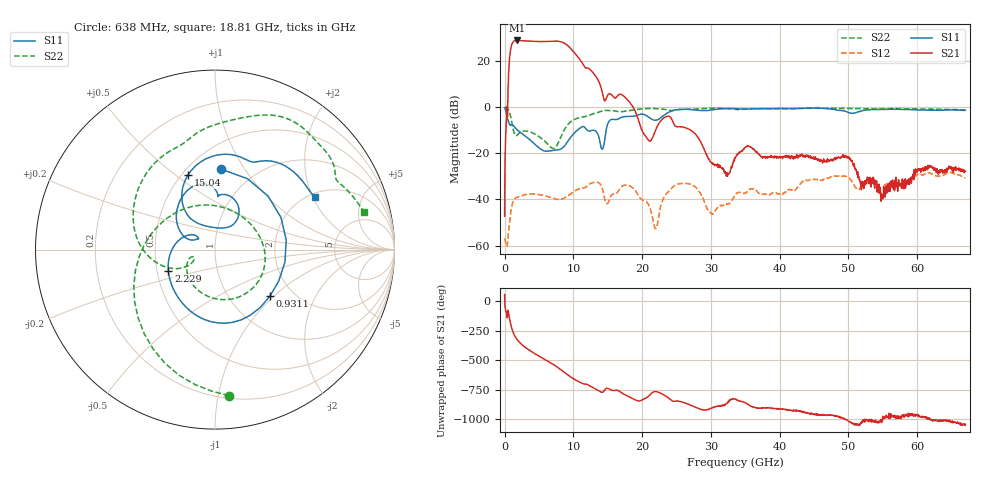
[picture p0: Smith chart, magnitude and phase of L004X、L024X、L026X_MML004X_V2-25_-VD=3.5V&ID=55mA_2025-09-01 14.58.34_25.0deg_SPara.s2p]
!Keysight Technologies,N5247B,MY63057157,A.17.10.07
!Date: Monday, September 01, 2025 15:05:31
!Correction: S11(C  2-Port  )
!S21(C  2-Port  )
!S12(C  2-Port  )
!S22(C  2-Port  )
!S2P File: Measurements: S11, S21, S12, S22:
# Hz S  dB  R 50
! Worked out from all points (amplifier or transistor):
!   1601 points, 10 MHz to 67 GHz, reference 50 ohm
!   highest |S21| = 28.7 dB at 1.81 GHz (marker M1)
!   |S21| within 3 dB of that: 946.6 MHz to 9.462 GHz (8.516 GHz wide, 164 % of centre)
!   unconditionally stable (mu >= 1): start of sweep to end of sweep
!   at 11.15 GHz: K = 1.89, MAG = 22.0 dB, |S12| = -35.2 dB
!   at 33.51 GHz: K = 19.88, MAG = -8.0 dB, |S12| = -38.2 dB
!   at 67 GHz: K = 33.23, MAG = -16.8 dB, |S12| = -30.8 dB
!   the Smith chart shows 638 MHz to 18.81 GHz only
!   S11 on the Smith chart (normalised r, x): 638 MHz: 0.70, +0.79; 931.1 MHz: 1.53, -0.94; 2.229 GHz: 0.57, -0.15; 15.04 GHz: 0.54, +0.56; 18.81 GHz: 2.14, +2.07
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1e7  -0.50 -26.6  -47.29 54.2  -56.82 -163.5  -0.14 -12.1
6.380312e8  -6.93 85.9  17.06 -122.1  -52.23 -119.7  -1.75 -84.6
9.311125e8  -7.93 -40.1  25.47 155.1  -44.82 166.9  -4.84 -138.5
1.3498e9  -8.37 -105.6  28.35 81.5  -40.37 111.5  -10.87 128.2
1.810356e9  -9.87 -135.8  28.69 35.3  -39.07 78.0  -12.34 40.0
2.229044e9  -10.87 -155.3  28.63 6.9  -38.70 59.9  -11.13 -3.0
3.275762e9  -13.24 169.7  28.46 -43.3  -37.82 31.7  -10.53 -58.8
4.36435e9  -16.07 148.3  28.31 -84.1  -37.64 13.2  -11.71 -101.4
5.620412e9  -18.92 144.7  28.21 -126.3  -38.25 -3.7  -14.21 -143.9
7.002081e9  -18.88 148.9  28.37 -173.3  -39.52 -12.6  -18.01 -160.4
7.881325e9  -18.53 150.3  28.32 152.3  -40.01 -10.7  -15.04 -149.2
8.844306e9  -16.41 158.7  27.22 110.6  -39.13 -4.2  -9.18 -169.8
9.932894e9  -12.04 146.8  24.19 66.5  -36.96 -8.0  -5.84 152.5
1.118896e10  -8.74 114.0  19.47 26.3  -35.20 -24.4  -4.44 117.8
1.328239e10  -10.59 67.5  13.12 -25.9  -32.55 -61.6  -2.70 81.6
1.504088e10  -7.09 110.0  5.22 -19.2  -41.54 -65.5  -1.61 50.3
1.880907e10  -4.04 27.8  -0.79 -110.2  -35.51 -124.3  -1.37 14.4
2.236791e10  -5.42 1.6  -7.58 -51.4  -48.48 8.0  -0.84 -18.3
3.3505e10  -0.80 -80.2  -22.29 -108.1  -38.19 -122.2  -1.11 -74.1
4.468396e10  -0.55 -124.5  -22.14 125.7  -31.44 170.4  -0.66 -109.1
5.586291e10  -1.07 -152.3  -36.62 90.7  -32.98 128.1  -0.82 -141.9
6.7e10  -1.54 179.4  -27.95 37.4  -30.75 54.0  -1.30 -175.0
